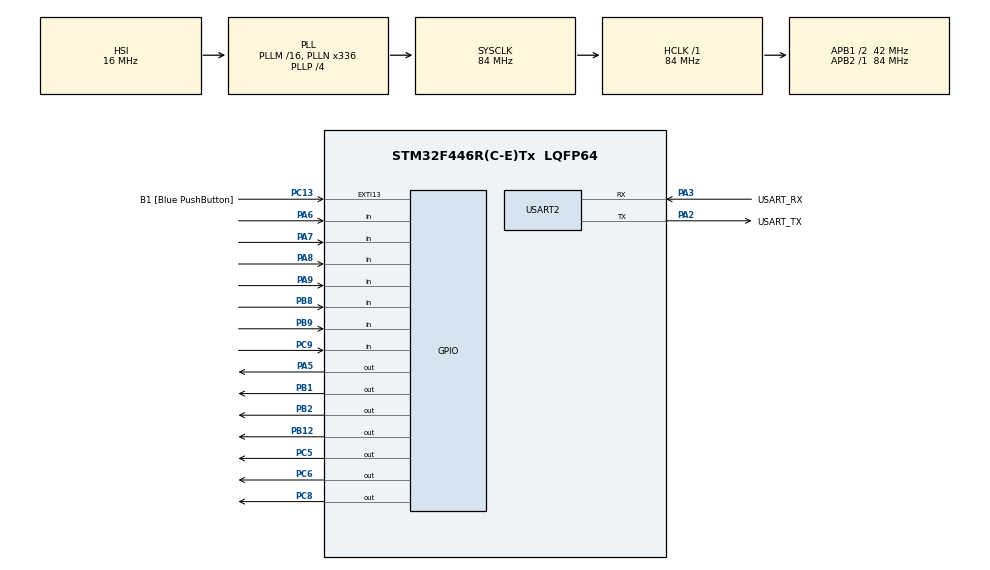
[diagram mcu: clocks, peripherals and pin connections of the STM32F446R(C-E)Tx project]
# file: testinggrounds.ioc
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Mcu.Family=STM32F4
Mcu.Name=STM32F446R(C-E)Tx
Mcu.Package=LQFP64
NVIC.PriorityGroup=NVIC_PRIORITYGROUP_0
NVIC.USART2_IRQn=true\:0\:0\:false\:false\:true\:true\:true\:true
PA13.GPIO_Label=TMS
PA13.Mode=Serial_Wire
PA13.Signal=SYS_JTMS-SWDIO
PA14.GPIO_Label=TCK
PA14.Mode=Serial_Wire
PA14.Signal=SYS_JTCK-SWCLK
PA2.GPIO_Label=USART_TX
PA2.Mode=Asynchronous
PA2.Signal=USART2_TX
PA3.GPIO_Label=USART_RX
PA3.Mode=Asynchronous
PA3.Signal=USART2_RX
PA5.Signal=GPIO_Output
PA6.Signal=GPIO_Input
PA7.Signal=GPIO_Input
PA8.Signal=GPIO_Input
PA9.Signal=GPIO_Input
PB1.Signal=GPIO_Output
PB12.Signal=GPIO_Output
PB2.Signal=GPIO_Output
PB3.GPIO_Label=SWO
PB3.Signal=SYS_JTDO-SWO
PB8.Signal=GPIO_Input
PB9.Signal=GPIO_Input
PC13.GPIO_Label=B1 [Blue PushButton]
PC13.GPIO_ModeDefaultEXTI=GPIO_MODE_IT_FALLING
PC13.Signal=GPXTI13
PC14-OSC32_IN.Mode=LSE-External-Oscillator
PC14-OSC32_IN.Signal=RCC_OSC32_IN
PC15-OSC32_OUT.Mode=LSE-External-Oscillator
PC15-OSC32_OUT.Signal=RCC_OSC32_OUT
PC5.Signal=GPIO_Output
PC6.Signal=GPIO_Output
PC8.Signal=GPIO_Output
PC9.Signal=GPIO_Input
PH0-OSC_IN.Mode=HSE-External-Oscillator
PH0-OSC_IN.Signal=RCC_OSC_IN
PH1-OSC_OUT.Mode=HSE-External-Oscillator
PH1-OSC_OUT.Signal=RCC_OSC_OUT
ProjectManager.HeapSize=0x200
ProjectManager.StackSize=0x400
ProjectManager.TargetToolchain=STM32CubeIDE
RCC.48MHZClocksFreq_Value=84000000
RCC.AHBFreq_Value=84000000
RCC.APB1CLKDivider=RCC_HCLK_DIV2
RCC.APB1Freq_Value=42000000
RCC.APB1TimFreq_Value=84000000
RCC.APB2Freq_Value=84000000
RCC.APB2TimFreq_Value=84000000
RCC.CortexFreq_Value=84000000
RCC.FLatency-AdvancedSettings=FLASH_LATENCY_2
RCC.HCLKFreq_Value=84000000
RCC.HSE_VALUE=8000000
RCC.HSI_VALUE=16000000
RCC.PLLN=336
RCC.PLLP=RCC_PLLP_DIV4
RCC.SYSCLKFreq_VALUE=84000000
RCC.SYSCLKSource=RCC_SYSCLKSOURCE_PLLCLK
RCC.USBFreq_Value=168000000
RCC.VCOOutputFreq_Value=336000000
TIM1.Prescaler=83
USART2.VirtualMode=VM_ASYNC
VP_TIM1_VS_ClockSourceINT.Mode=Internal
board=NUCLEO-F446RE

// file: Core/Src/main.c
/* USER CODE BEGIN Header */
/**
  ******************************************************************************
  * @file           : main.c
  * @brief          : Main program body
  ******************************************************************************
  * @attention
  *
  * Copyright (c) 2026 STMicroelectronics.
  * All rights reserved.
  *
  * This software is licensed under terms that can be found in the LICENSE file
  * in the root directory of this software component.
  * If no LICENSE file comes with this software, it is provided AS-IS.
  *
  ******************************************************************************
  */
/* USER CODE END Header */
#include "main.h"

/* USER CODE BEGIN Includes */
#include <string.h>
#include <stdio.h>
/* USER CODE END Includes */

TIM_HandleTypeDef htim1;

UART_HandleTypeDef huart2;

/* USER CODE BEGIN PV */
uint8_t rx_byte;
uint8_t rx_buffer[32];
volatile uint8_t rx_index = 0;
volatile uint8_t echo_ready = 0;
/* USER CODE END PV */

void SystemClock_Config(void);
static void MX_GPIO_Init(void);
static void MX_USART2_UART_Init(void);
static void MX_TIM1_Init(void);

/* USER CODE BEGIN 0 */

typedef struct
{
    GPIO_TypeDef* trigPort;
    uint16_t trigPin;

    GPIO_TypeDef* echoPort;
    uint16_t echoPin;

    float lastDistance;
} UltrasonicSensor;

#define NUM_SENSORS 6
UltrasonicSensor sensors[NUM_SENSORS] =
{
    {GPIOC, GPIO_PIN_8,  GPIOC, GPIO_PIN_9,  -1},  // S1
    {GPIOC, GPIO_PIN_6,  GPIOB, GPIO_PIN_8,  -1},  // S2
    {GPIOC, GPIO_PIN_5,  GPIOB, GPIO_PIN_9,  -1},  // S3
    {GPIOB, GPIO_PIN_12, GPIOA, GPIO_PIN_7,  -1},  // S4
	{GPIOB, GPIO_PIN_2, GPIOA, GPIO_PIN_9,  -1}, // S5
	{GPIOB, GPIO_PIN_1, GPIOA, GPIO_PIN_8,  -1}, // S6
};

//{GPIOC, GPIO_PIN_8,  GPIOC, GPIO_PIN_9,  -1},  // S1
//{GPIOC, GPIO_PIN_6,  GPIOB, GPIO_PIN_8,  -1},  // S2
//{GPIOC, GPIO_PIN_5,  GPIOB, GPIO_PIN_9,  -1},  // S3
//{GPIOB, GPIO_PIN_12, GPIOA, GPIO_PIN_7,  -1}   // S4
//};

void delay_us(uint16_t us)
{
    uint32_t start = __HAL_TIM_GET_COUNTER(&htim1);
    while ((__HAL_TIM_GET_COUNTER(&htim1) - start) < us);
}

float readSensor(UltrasonicSensor* s)
{
    // Ensure trigger starts low
    HAL_GPIO_WritePin(s->trigPort, s->trigPin, GPIO_PIN_RESET);
    delay_us(5);

    // 20us trigger pulse
    HAL_GPIO_WritePin(s->trigPort, s->trigPin, GPIO_PIN_SET);
    delay_us(20);
    HAL_GPIO_WritePin(s->trigPort, s->trigPin, GPIO_PIN_RESET);

    uint16_t timeout = 30000; // 30ms
    uint16_t startTick = __HAL_TIM_GET_COUNTER(&htim1);

    // Wait for echo to go HIGH
    while (HAL_GPIO_ReadPin(s->echoPort, s->echoPin) == GPIO_PIN_RESET)
    {
        if ((uint16_t)(__HAL_TIM_GET_COUNTER(&htim1) - startTick) > timeout)
            return -1;
    }

    uint16_t echoStart = __HAL_TIM_GET_COUNTER(&htim1);

    // Wait for echo to go LOW
    while (HAL_GPIO_ReadPin(s->echoPort, s->echoPin) == GPIO_PIN_SET)
    {
        if ((uint16_t)(__HAL_TIM_GET_COUNTER(&htim1) - echoStart) > timeout)
            return -1;
    }

    uint16_t echoEnd = __HAL_TIM_GET_COUNTER(&htim1);

    uint16_t duration = (uint16_t)(echoEnd - echoStart);

    return (duration * 0.343f) / 2.0f;
}

float median3(UltrasonicSensor* s)
{
    float readings[3];
    int validCount = 0;

    for (int i = 0; i < 3; i++)
    {
        float d = readSensor(s);

        if (d > 0)
        {
            readings[validCount++] = d;
        }

        HAL_Delay(20);  // allow ringing to settle
    }

    if (validCount == 0)
        return -1;

    if (validCount == 1)
        return readings[0];

    if (validCount == 2)
        return (readings[0] < readings[1]) ? readings[0] : readings[1];

    // sort 3 values
    for (int i = 0; i < 2; i++)
    {
        for (int j = i + 1; j < 3; j++)
        {
            if (readings[j] < readings[i])
            {
                float temp = readings[i];
                readings[i] = readings[j];
                readings[j] = temp;
            }
        }
    }

    return readings[1];  // middle value
}

/* USER CODE END 0 */

int main(void)
{

  /* MCU Configuration--------------------------------------------------------*/

  /* Reset of all peripherals, Initializes the Flash interface and the Systick. */
  HAL_Init();

  /* Configure the system clock */
  SystemClock_Config();

  /* Initialize all configured peripherals */
  MX_GPIO_Init();
  MX_USART2_UART_Init();
  MX_TIM1_Init();
  /* USER CODE BEGIN 2 */
  HAL_TIM_Base_Start(&htim1);
  HAL_UART_Receive_IT(&huart2, &rx_byte, 1);
  /* USER CODE END 2 */

  /* Infinite loop */
  while (1)
  {

    /* USER CODE BEGIN 3 */

//	    uint8_t c;
//
//	    if (HAL_UART_Receive(&huart2, &c, 1, HAL_MAX_DELAY) == HAL_OK)
//	    {
//	        HAL_UART_Transmit(&huart2, &c, 1, HAL_MAX_DELAY);
//	    }

//	  if (echo_ready)
//	  {
//	      if (strncmp((char*)rx_buffer, "<CLEAN>", 7) == 0)
//	          HAL_GPIO_WritePin(GPIOA, GPIO_PIN_5, GPIO_PIN_RESET);
//	      else if (strncmp((char*)rx_buffer, "<DIRTY>", 7) == 0)
//	          HAL_GPIO_WritePin(GPIOA, GPIO_PIN_5, GPIO_PIN_SET);
//
//	      rx_index = 0;
//	      echo_ready = 0;
//	  }

	  if (echo_ready)
	  {
	      if (strncmp((char*)rx_buffer, "<S_CLN>", 7) == 0) // turn on whatever pins to trigger motor
	          HAL_GPIO_WritePin(GPIOA, GPIO_PIN_5, GPIO_PIN_RESET); // whatever pins we change will need to add to the ioc
	      else if (strncmp((char*)rx_buffer, "<STCLN>", 7) == 0) // turn on whatever pins to trigger motor
	          HAL_GPIO_WritePin(GPIOA, GPIO_PIN_5, GPIO_PIN_SET);

	      rx_index = 0;
	      echo_ready = 0;
	  }

	    // --- Now do sensor work ---
	    float distances[NUM_SENSORS];

	    for (int i = 0; i < NUM_SENSORS; i++)
	    {
	        distances[i] = median3(&sensors[i]);
	        HAL_Delay(80);
	    }

//	    char msg[256];
//	    int offset = 0;
//
//	    for (int i = 0; i < NUM_SENSORS; i++)
//	    {
//	        if (distances[i] < 0)
//	            offset += sprintf(msg + offset, "<S%d:NO_ECHO> ", i+1);
//	        else
//	            offset += sprintf(msg + offset, "<S%d:%dmm> ", i+1, (int)distances[i]);
//	    }
//
//	    sprintf(msg + offset, "\r\n");

	    char msg[128];
	    int offset = 0;

	    for (int i = 0; i < NUM_SENSORS; i++)
	    {
	        int value;

	        if (distances[i] < 0)
	            value = 9999;   // NO_ECHO
	        else
	            value = (int)distances[i];

	        // Add comma except for first element
	        if (i == 0)
	            offset += sprintf(msg + offset, "%d", value);
	        else
	            offset += sprintf(msg + offset, ",%d", value);
	    }

	    // newline at end
	    offset += sprintf(msg + offset, "\r\n");

	    HAL_UART_Transmit(&huart2, (uint8_t*)msg, strlen(msg), HAL_MAX_DELAY);

  }
  /* USER CODE END 3 */
}

void SystemClock_Config(void)
{
  RCC_OscInitTypeDef RCC_OscInitStruct = {0};
  RCC_ClkInitTypeDef RCC_ClkInitStruct = {0};

  /** Configure the main internal regulator output voltage
  */
  __HAL_RCC_PWR_CLK_ENABLE();
  __HAL_PWR_VOLTAGESCALING_CONFIG(PWR_REGULATOR_VOLTAGE_SCALE3);

  /** Initializes the RCC Oscillators according to the specified parameters
  * in the RCC_OscInitTypeDef structure.
  */
  RCC_OscInitStruct.OscillatorType = RCC_OSCILLATORTYPE_HSI;
  RCC_OscInitStruct.HSIState = RCC_HSI_ON;
  RCC_OscInitStruct.HSICalibrationValue = RCC_HSICALIBRATION_DEFAULT;
  RCC_OscInitStruct.PLL.PLLState = RCC_PLL_ON;
  RCC_OscInitStruct.PLL.PLLSource = RCC_PLLSOURCE_HSI;
  RCC_OscInitStruct.PLL.PLLM = 16;
  RCC_OscInitStruct.PLL.PLLN = 336;
  RCC_OscInitStruct.PLL.PLLP = RCC_PLLP_DIV4;
  RCC_OscInitStruct.PLL.PLLQ = 2;
  RCC_OscInitStruct.PLL.PLLR = 2;
  if (HAL_RCC_OscConfig(&RCC_OscInitStruct) != HAL_OK)
  {
    Error_Handler();
  }

  /** Initializes the CPU, AHB and APB buses clocks
  */
  RCC_ClkInitStruct.ClockType = RCC_CLOCKTYPE_HCLK|RCC_CLOCKTYPE_SYSCLK
                              |RCC_CLOCKTYPE_PCLK1|RCC_CLOCKTYPE_PCLK2;
  RCC_ClkInitStruct.SYSCLKSource = RCC_SYSCLKSOURCE_PLLCLK;
  RCC_ClkInitStruct.AHBCLKDivider = RCC_SYSCLK_DIV1;
  RCC_ClkInitStruct.APB1CLKDivider = RCC_HCLK_DIV2;
  RCC_ClkInitStruct.APB2CLKDivider = RCC_HCLK_DIV1;

  if (HAL_RCC_ClockConfig(&RCC_ClkInitStruct, FLASH_LATENCY_2) != HAL_OK)
  {
    Error_Handler();
  }
}

static void MX_TIM1_Init(void)
{

  TIM_ClockConfigTypeDef sClockSourceConfig = {0};
  TIM_MasterConfigTypeDef sMasterConfig = {0};

  htim1.Instance = TIM1;
  htim1.Init.Prescaler = 83;
  htim1.Init.CounterMode = TIM_COUNTERMODE_UP;
  htim1.Init.Period = 65535;
  htim1.Init.ClockDivision = TIM_CLOCKDIVISION_DIV1;
  htim1.Init.RepetitionCounter = 0;
  htim1.Init.AutoReloadPreload = TIM_AUTORELOAD_PRELOAD_DISABLE;
  if (HAL_TIM_Base_Init(&htim1) != HAL_OK)
  {
    Error_Handler();
  }
  sClockSourceConfig.ClockSource = TIM_CLOCKSOURCE_INTERNAL;
  if (HAL_TIM_ConfigClockSource(&htim1, &sClockSourceConfig) != HAL_OK)
  {
    Error_Handler();
  }
  sMasterConfig.MasterOutputTrigger = TIM_TRGO_RESET;
  sMasterConfig.MasterSlaveMode = TIM_MASTERSLAVEMODE_DISABLE;
  if (HAL_TIMEx_MasterConfigSynchronization(&htim1, &sMasterConfig) != HAL_OK)
  {
    Error_Handler();
  }

}

static void MX_USART2_UART_Init(void)
{

  huart2.Instance = USART2;
  huart2.Init.BaudRate = 115200;
  huart2.Init.WordLength = UART_WORDLENGTH_8B;
  huart2.Init.StopBits = UART_STOPBITS_1;
  huart2.Init.Parity = UART_PARITY_NONE;
  huart2.Init.Mode = UART_MODE_TX_RX;
  huart2.Init.HwFlowCtl = UART_HWCONTROL_NONE;
  huart2.Init.OverSampling = UART_OVERSAMPLING_16;
  if (HAL_UART_Init(&huart2) != HAL_OK)
  {
    Error_Handler();
  }

}

static void MX_GPIO_Init(void)
{
  GPIO_InitTypeDef GPIO_InitStruct = {0};

  /* GPIO Ports Clock Enable */
  __HAL_RCC_GPIOC_CLK_ENABLE();
  __HAL_RCC_GPIOH_CLK_ENABLE();
  __HAL_RCC_GPIOA_CLK_ENABLE();
  __HAL_RCC_GPIOB_CLK_ENABLE();

  /*Configure GPIO pin Output Level */
  HAL_GPIO_WritePin(GPIOA, GPIO_PIN_5, GPIO_PIN_RESET);

  /*Configure GPIO pin Output Level */
  HAL_GPIO_WritePin(GPIOC, GPIO_PIN_5|GPIO_PIN_6|GPIO_PIN_8, GPIO_PIN_RESET);

  /*Configure GPIO pin Output Level */
  HAL_GPIO_WritePin(GPIOB, GPIO_PIN_1|GPIO_PIN_2|GPIO_PIN_12, GPIO_PIN_RESET);

  /*Configure GPIO pin : B1_Pin */
  GPIO_InitStruct.Pin = B1_Pin;
  GPIO_InitStruct.Mode = GPIO_MODE_IT_FALLING;
  GPIO_InitStruct.Pull = GPIO_NOPULL;
  HAL_GPIO_Init(B1_GPIO_Port, &GPIO_InitStruct);

  /*Configure GPIO pin : PA5 */
  GPIO_InitStruct.Pin = GPIO_PIN_5;
  GPIO_InitStruct.Mode = GPIO_MODE_OUTPUT_PP;
  GPIO_InitStruct.Pull = GPIO_NOPULL;
  GPIO_InitStruct.Speed = GPIO_SPEED_FREQ_LOW;
  HAL_GPIO_Init(GPIOA, &GPIO_InitStruct);

  /*Configure GPIO pins : PA6 PA7 PA8 PA9 */
  GPIO_InitStruct.Pin = GPIO_PIN_6|GPIO_PIN_7|GPIO_PIN_8|GPIO_PIN_9;
  GPIO_InitStruct.Mode = GPIO_MODE_INPUT;
  GPIO_InitStruct.Pull = GPIO_NOPULL;
  HAL_GPIO_Init(GPIOA, &GPIO_InitStruct);

  /*Configure GPIO pins : PC5 PC6 PC8 */
  GPIO_InitStruct.Pin = GPIO_PIN_5|GPIO_PIN_6|GPIO_PIN_8;
  GPIO_InitStruct.Mode = GPIO_MODE_OUTPUT_PP;
  GPIO_InitStruct.Pull = GPIO_NOPULL;
  GPIO_InitStruct.Speed = GPIO_SPEED_FREQ_LOW;
  HAL_GPIO_Init(GPIOC, &GPIO_InitStruct);

  /*Configure GPIO pins : PB1 PB2 PB12 */
  GPIO_InitStruct.Pin = GPIO_PIN_1|GPIO_PIN_2|GPIO_PIN_12;
  GPIO_InitStruct.Mode = GPIO_MODE_OUTPUT_PP;
  GPIO_InitStruct.Pull = GPIO_NOPULL;
  GPIO_InitStruct.Speed = GPIO_SPEED_FREQ_LOW;
  HAL_GPIO_Init(GPIOB, &GPIO_InitStruct);

  /*Configure GPIO pin : PC9 */
  GPIO_InitStruct.Pin = GPIO_PIN_9;
  GPIO_InitStruct.Mode = GPIO_MODE_INPUT;
  GPIO_InitStruct.Pull = GPIO_NOPULL;
  HAL_GPIO_Init(GPIOC, &GPIO_InitStruct);

  /*Configure GPIO pins : PB8 PB9 */
  GPIO_InitStruct.Pin = GPIO_PIN_8|GPIO_PIN_9;
  GPIO_InitStruct.Mode = GPIO_MODE_INPUT;
  GPIO_InitStruct.Pull = GPIO_NOPULL;
  HAL_GPIO_Init(GPIOB, &GPIO_InitStruct);

}

/* USER CODE BEGIN 4 */
void HAL_UART_RxCpltCallback(UART_HandleTypeDef *huart)
{
    if (huart->Instance == USART2)
    {
        if (rx_index < sizeof(rx_buffer))
            rx_buffer[rx_index++] = rx_byte;

        if (rx_index >= 7)
            echo_ready = 1;

        HAL_UART_Receive_IT(&huart2, &rx_byte, 1);
    }
}
/* USER CODE END 4 */

void Error_Handler(void)
{
  __disable_irq();
  while (1)
  {
  }
}
